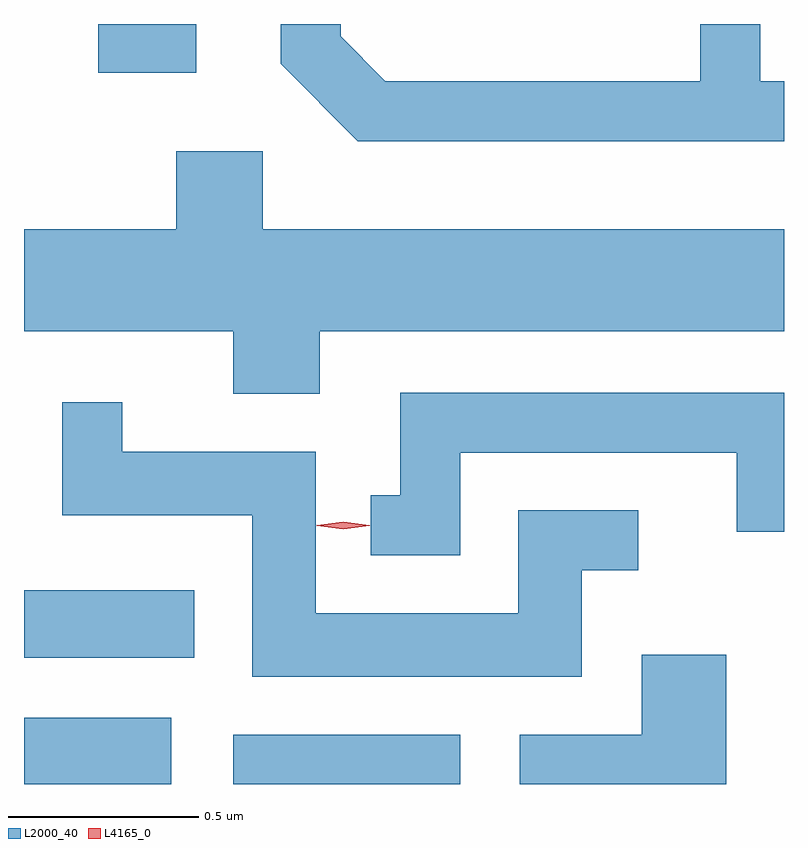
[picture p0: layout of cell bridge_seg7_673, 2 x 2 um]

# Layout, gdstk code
import gdstk
lib = gdstk.Library(unit=1e-6, precision=1e-09)
def R(c, l, rs):  # rectangles x0, y0, x1, y1
    for r in rs: c.add(gdstk.rectangle(r[:2], r[2:], *l))
def P(c, l, *ps):  # polygons
    for p in ps: c.add(gdstk.Polygon(p, *l))
L2000_40 = (2000, 40)
L4165_0 = (4165, 0)

bridge_seg7_673 = lib.new_cell('bridge_seg7_673')
R(bridge_seg7_673, L2000_40, [(857.391,1695.364,857.779,1695.539), (857.941,1695.364,858.539,1695.494), (857.391,1695.696,857.839,1695.874), (857.586,1697.236,857.844,1697.364)])
P(bridge_seg7_673, L2000_40, [(859.391,1697.214),(859.329,1697.214),(859.329,1697.364),(859.171,1697.364),(859.171,1697.214),(858.342,1697.214),(858.224,1697.332),(858.224,1697.364),(858.066,1697.364),(858.066,1697.259),(858.269,1697.056),(859.391,1697.056)],
  [(858.169,1696.556),(859.391,1696.556),(859.391,1696.824),(858.019,1696.824),(858.019,1697.029),(857.791,1697.029),(857.791,1696.824),(857.391,1696.824),(857.391,1696.556),(857.941,1696.556),(857.941,1696.391),(858.169,1696.391)],
  [(858.539,1696.236),(859.266,1696.236),(859.266,1696.028),(859.391,1696.028),(859.391,1696.394),(858.381,1696.394),(858.381,1696.124),(858.303,1696.124),(858.303,1695.966),(858.539,1695.966)],
  [(858.859,1695.926),(859.008,1695.926),(859.008,1696.084),(858.691,1696.084),(858.691,1695.814),(858.159,1695.814),(858.159,1696.239),(857.649,1696.239),(857.649,1696.368),(857.491,1696.368),(857.491,1696.071),(857.991,1696.071),(857.991,1695.646),(858.859,1695.646)],
  [(859.239,1695.704),(859.016,1695.704),(859.016,1695.494),(858.696,1695.494),(858.696,1695.364),(859.239,1695.364)])
P(bridge_seg7_673, L4165_0, [(858.231,1696.035),(858.162,1696.044),(858.162,1696.044),(858.162,1696.045),(858.231,1696.054),(858.301,1696.045),(858.301,1696.045),(858.301,1696.044)])

lib.write_gds('bridge_seg7_673.gds')
